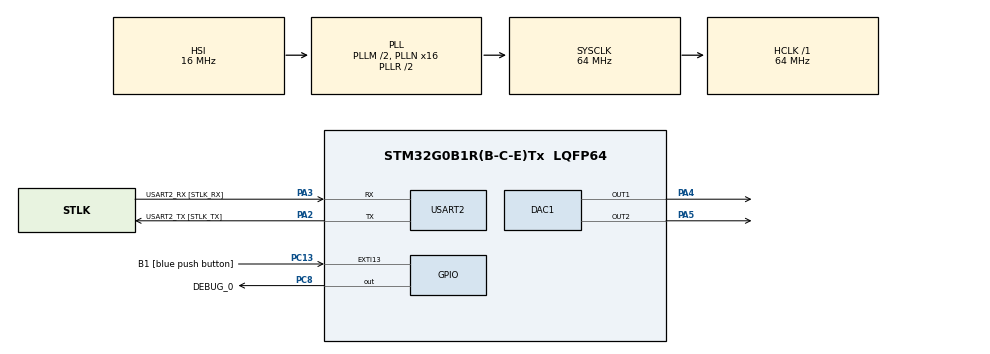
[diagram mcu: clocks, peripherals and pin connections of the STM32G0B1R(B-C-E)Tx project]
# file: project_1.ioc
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DAC1.DAC_Channel-DAC_OUT1=DAC_CHANNEL_1
DAC1.DAC_Channel-DAC_OUT2=DAC_CHANNEL_2
DAC1.DAC_Trigger-DAC_OUT1=DAC_TRIGGER_T2_TRGO
DAC1.DAC_Trigger-DAC_OUT2=DAC_TRIGGER_T2_TRGO
Dma.DAC1_CH1.0.Direction=DMA_MEMORY_TO_PERIPH
Dma.DAC1_CH1.0.EventEnable=DISABLE
Dma.DAC1_CH1.0.Instance=DMA1_Channel1
Dma.DAC1_CH1.0.MemDataAlignment=DMA_MDATAALIGN_WORD
Dma.DAC1_CH1.0.MemInc=DMA_MINC_ENABLE
Dma.DAC1_CH1.0.Mode=DMA_CIRCULAR
Dma.DAC1_CH1.0.PeriphDataAlignment=DMA_PDATAALIGN_WORD
Dma.DAC1_CH1.0.PeriphInc=DMA_PINC_DISABLE
Dma.DAC1_CH1.0.Polarity=HAL_DMAMUX_REQ_GEN_RISING
Dma.DAC1_CH1.0.Priority=DMA_PRIORITY_HIGH
Dma.DAC1_CH1.0.RequestNumber=1
Dma.DAC1_CH1.0.SignalID=NONE
Dma.DAC1_CH1.0.SyncEnable=DISABLE
Dma.DAC1_CH1.0.SyncPolarity=HAL_DMAMUX_SYNC_NO_EVENT
Dma.DAC1_CH1.0.SyncRequestNumber=1
Dma.DAC1_CH1.0.SyncSignalID=NONE
Dma.DAC1_CH2.1.Direction=DMA_MEMORY_TO_PERIPH
Dma.DAC1_CH2.1.EventEnable=DISABLE
Dma.DAC1_CH2.1.Instance=DMA1_Channel2
Dma.DAC1_CH2.1.MemDataAlignment=DMA_MDATAALIGN_WORD
Dma.DAC1_CH2.1.MemInc=DMA_MINC_DISABLE
Dma.DAC1_CH2.1.Mode=DMA_CIRCULAR
Dma.DAC1_CH2.1.PeriphDataAlignment=DMA_PDATAALIGN_WORD
Dma.DAC1_CH2.1.PeriphInc=DMA_PINC_DISABLE
Dma.DAC1_CH2.1.Polarity=HAL_DMAMUX_REQ_GEN_RISING
Dma.DAC1_CH2.1.Priority=DMA_PRIORITY_HIGH
Dma.DAC1_CH2.1.RequestNumber=1
Dma.DAC1_CH2.1.SignalID=NONE
Dma.DAC1_CH2.1.SyncEnable=DISABLE
Dma.DAC1_CH2.1.SyncPolarity=HAL_DMAMUX_SYNC_NO_EVENT
Dma.DAC1_CH2.1.SyncRequestNumber=1
Dma.DAC1_CH2.1.SyncSignalID=NONE
Dma.Request0=DAC1_CH1
Dma.Request1=DAC1_CH2
Mcu.Family=STM32G0
Mcu.Name=STM32G0B1R(B-C-E)Tx
Mcu.Package=LQFP64
NVIC.DMA1_Channel1_IRQn=true\:1\:0\:true\:false\:true\:false\:true\:true
NVIC.DMA1_Channel2_3_IRQn=true\:1\:0\:true\:false\:true\:false\:true\:true
NVIC.TIM2_IRQn=true\:0\:0\:false\:false\:true\:true\:true\:true
NVIC.USART2_LPUART2_IRQn=true\:2\:0\:true\:false\:true\:true\:true\:true
PA13.GPIO_Label=TMS
PA13.Mode=Serial_Wire
PA13.Signal=SYS_SWDIO
PA14-BOOT0.GPIO_Label=TCK
PA14-BOOT0.Mode=Serial_Wire
PA14-BOOT0.Signal=SYS_SWCLK
PA2.GPIO_Label=USART2_TX [STLK_TX]
PA2.Mode=Asynchronous
PA2.Signal=USART2_TX
PA3.GPIO_Label=USART2_RX [STLK_RX]
PA3.Mode=Asynchronous
PA3.Signal=USART2_RX
PA4.Signal=COMP_DAC11_group
PA5.Signal=COMP_DAC12_group
PC13.GPIO_Label=B1 [blue push button]
PC13.Signal=GPXTI13
PC14-OSC32_IN\ (PC14).Mode=LSE-External-Oscillator
PC14-OSC32_IN\ (PC14).Signal=RCC_OSC32_IN
PC15-OSC32_OUT\ (PC15).Mode=LSE-External-Oscillator
PC15-OSC32_OUT\ (PC15).Signal=RCC_OSC32_OUT
PC8.GPIO_Label=DEBUG_0
PC8.Signal=GPIO_Output
ProjectManager.HeapSize=0x200
ProjectManager.StackSize=0x400
ProjectManager.TargetToolchain=Makefile
RCC.ADCFreq_Value=64000000
RCC.AHBFreq_Value=64000000
RCC.CortexFreq_Value=64000000
RCC.EXTERNAL_CLOCK_VALUE=0
RCC.HCLKFreq_Value=64000000
RCC.HSE_VALUE=8000000
RCC.HSI48_VALUE=48000000
RCC.HSI_VALUE=16000000
RCC.PLLM=RCC_PLLM_DIV2
RCC.PLLN=16
RCC.PLLSourceVirtual=RCC_PLLSOURCE_HSI
RCC.SYSCLKFreq_VALUE=64000000
RCC.SYSCLKSource=RCC_SYSCLKSOURCE_PLLCLK
RCC.USBFreq_Value=48000000
RCC.VCOOutputFreq_Value=128000000
SH.COMP_DAC11_group.0=DAC1_OUT1,DAC_OUT1
SH.COMP_DAC12_group.0=DAC1_OUT2,DAC_OUT2
TIM2.AutoReloadPreload=TIM_AUTORELOAD_PRELOAD_ENABLE
TIM2.Period=40-1
TIM2.Prescaler=160-1
TIM2.TIM_MasterOutputTrigger=TIM_TRGO_UPDATE
USART2.VirtualMode-Asynchronous=VM_ASYNC
VP_SYS_VS_DBSignals.Mode=DisableDeadBatterySignals
VP_TIM2_VS_ClockSourceINT.Mode=Internal
board=NUCLEO-G0B1RE

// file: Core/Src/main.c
/* USER CODE BEGIN Header */
/**
  ******************************************************************************
  * @file           : main.c
  * @brief          : Main program body
  ******************************************************************************
  * @attention
  *
  * Copyright (c) 2026 STMicroelectronics.
  * All rights reserved.
  *
  * This software is licensed under terms that can be found in the LICENSE file
  * in the root directory of this software component.
  * If no LICENSE file comes with this software, it is provided AS-IS.
  *
  ******************************************************************************
  */
/* USER CODE END Header */
#include "main.h"

/* USER CODE BEGIN Includes */
#include <math.h>
#include <stdio.h>
#include "utils.h"
/* USER CODE END Includes */

/* USER CODE BEGIN PD */

#define MAX_STIM_LENGTH 1024U
#define DAC_TSEL_TIM6_TRGO 0U

/* USER CODE END PD */

DAC_HandleTypeDef hdac1;
DMA_HandleTypeDef hdma_dac1_ch1;
DMA_HandleTypeDef hdma_dac1_ch2;

TIM_HandleTypeDef htim2;

UART_HandleTypeDef huart2;

void SystemClock_Config(void);
static void MX_GPIO_Init(void);
static void MX_DMA_Init(void);
static void MX_USART2_UART_Init(void);
static void MX_DAC1_Init(void);
static void MX_TIM2_Init(void);

/* USER CODE BEGIN 0 */
q24_t Stim[MAX_STIM_LENGTH] = {Q24_ZERO};

stim_t G_StimDb;
biquad_filter_t G_BiquadDb;

biquad_filter_t template_Biquad = {Q24_ZERO, Q24_ZERO, Q24_ZERO, Q24_ZERO, Q24_ZERO, Q24_ZERO, Q24_ZERO, Q24_ZERO, Q24_ZERO, Q24_ZERO, Q24_ZERO, Q24_ZERO};

filter_stats_t G_FilterStats;

uint32_t Filt_in = 0;
uint32_t Filt_out = 0;

char qbuf[16];

extern CmdArgs CmdStruct;

void get_stim_stats(void)
{
  G_FilterStats.max_stim_value = Q24_ZERO;
  G_FilterStats.min_stim_value = Q24_ONE;
  G_FilterStats.stim_amplitude = Q24_ZERO;

  for (uint32_t i = 0; i < G_StimDb.stim_length; i++)
  {
    if (Stim[i] > G_FilterStats.max_stim_value)
    {
      G_FilterStats.max_stim_value = Stim[i];
    }
    if (Stim[i] < G_FilterStats.min_stim_value)
    {
      G_FilterStats.min_stim_value = Stim[i];
    }
  }

  G_FilterStats.stim_amplitude = q24_sub(G_FilterStats.max_stim_value, G_FilterStats.min_stim_value);
}

void init_filter_stats(void)
{
  G_FilterStats.max_filter_value = Q24_ZERO;
  G_FilterStats.min_filter_value = Q24_ONE;
  G_FilterStats.filter_amplitude = Q24_ZERO;
  G_FilterStats.filter_gain = Q24_ONE; // Default gain is 1
}

void update_filter_min_max(q24_t filter_value)
{
  if (filter_value > G_FilterStats.max_filter_value)
  {
    G_FilterStats.max_filter_value = filter_value;
  }
  if (filter_value < G_FilterStats.min_filter_value)
  {
    G_FilterStats.min_filter_value = filter_value;
  }

}

void set_filter_template(biquad_filter_t *template)
{
  G_BiquadDb.b0 = template->b0;
  G_BiquadDb.b1 = template->b1;
  G_BiquadDb.b2 = template->b2;
  G_BiquadDb.a1 = template->a1;
  G_BiquadDb.a2 = template->a2;
}

void set_stim(uint8_t stim_type, q24_t f_norm_new)
{
  // Implementation for setting the stimulus type and normalized frequency
  // This function can be used to update the stimulus parameters dynamically
  // For example, you can store stim_type and f_norm in global variables and use them in Stim_Init
  // Here, we just print the new values for demonstration purposes
  printf("\n\rSetting stimulus type to: %s", (stim_type == SIN) ? "SIN" : "SQR");
  printf("\n\rSetting normalized frequency to: %s", q24_to_str(f_norm_new)); // wip
  G_StimDb.f_norm = f_norm_new; // Update the global f_norm variable
  G_StimDb.stim_type = stim_type; // Update the global stim_type variable
  HAL_DAC_Stop_DMA(&hdac1, DAC_CHANNEL_1);
  HAL_DAC_Stop_DMA(&hdac1, DAC_CHANNEL_2);
  G_StimDb.stim_index = 0; // Reset stim_index to start from the beginning of the new stimulus

  if (G_StimDb.stim_type == SIN)
  {
    G_StimDb.stim_length = Stim_Init_sin(G_StimDb.f_norm, 1); // Reinitialize the stimulus with the new frequency
    get_stim_stats(); // Update the stimulus statistics after reinitialization
  }
  else if (stim_type == SQR)
  {
    G_StimDb.stim_length = Stim_Init_sqr(G_StimDb.f_norm, 1); // Reinitialize the stimulus with the new frequency
    get_stim_stats(); // Update the stimulus statistics after reinitialization
  }
  else
  {
    printf("\n\rInvalid stimulus type");
  }
  HAL_DAC_Start_DMA(&hdac1, DAC_CHANNEL_1, &Filt_in, 1, DAC_ALIGN_12B_R);
  HAL_DAC_Start_DMA(&hdac1, DAC_CHANNEL_2, &Filt_out, 1, DAC_ALIGN_12B_R);
}

uint32_t Stim_Init_sin(q24_t f_norm, uint32_t n_cycles)
{
  const float two_pi = 6.28318530718f;
  uint32_t stim_length;
  uint32_t index = 0;
  float phase = 0.0f;
  uint32_t period = (uint32_t)(1.0f / q24_to_float(f_norm));

//  float amplitude_scale = 1.0f/3.3f; // think more about this. I wabt to add ability for filter gain > 1 fpr 2nd order filter. For now, just scale to 1.0f
  float amplitude_scale = 1.0f;

  stim_length = (uint32_t)(n_cycles * (1.0f / q24_to_float(f_norm)));
  if (stim_length > MAX_STIM_LENGTH)
  {
    stim_length = MAX_STIM_LENGTH;
  }

  for (index = 0; index < stim_length; index++)
  {
    phase = two_pi * (float)(index % period) / (float)period;
    Stim[index] = q24_from_float(sinf(phase) * amplitude_scale); // Sine wave
//    printf("\n\rStim[%ld] = %lx", index, Stim[index]);
  }

  printf("\n\r%ld Stimuli initialized\n\r", stim_length);
  return stim_length;
}

uint32_t Stim_Init_sqr(q24_t f_norm, uint32_t n_cycles)
{
  const float two_pi = 6.28318530718f;
  uint32_t stim_length;
  uint32_t index = 0;
  //float phase = 0.0f;
  uint32_t period = (uint32_t)(1.0f / q24_to_float(f_norm));

  stim_length = (uint32_t)(n_cycles * (1.0f / q24_to_float(f_norm)));
  if (stim_length > MAX_STIM_LENGTH)
  {
    stim_length = MAX_STIM_LENGTH;
  }

  for (index = 0; index < stim_length; index++)
  {
    Stim[index] = (index % period) < (period / 2) ? Q24_NEG_ONE : Q24_ONE; // Square wave
  }
  printf("\n\r%ld Stimuli initialized\n\r", stim_length);
  return stim_length;
}

q24_t get_biquad_filter_value(q24_t x_in)
{

  q24_t y =   q24_mul(G_BiquadDb.b0, x_in)
            + q24_mul(G_BiquadDb.b1, G_BiquadDb.x1)
            + q24_mul(G_BiquadDb.b2, G_BiquadDb.x2)
            - q24_mul(G_BiquadDb.a1, G_BiquadDb.y1)
            - q24_mul(G_BiquadDb.a2, G_BiquadDb.y2);

  // Update the filter state
  G_BiquadDb.x2 = G_BiquadDb.x1;
  G_BiquadDb.x1 = x_in;
  G_BiquadDb.y2 = G_BiquadDb.y1;
  G_BiquadDb.y1 = y;

  return y;
}

void handle_dacs(void)
{

  HAL_GPIO_WritePin(DEBUG_0_GPIO_Port, DEBUG_0_Pin, GPIO_PIN_SET);

  handle_stim(G_StimDb.stim_index);
  handle_filter(G_StimDb.stim_index);
  G_StimDb.stim_index = (G_StimDb.stim_index + 1) % G_StimDb.stim_length; // Increment stim_index and wrap around if necessary
  HAL_GPIO_WritePin(DEBUG_0_GPIO_Port, DEBUG_0_Pin, GPIO_PIN_RESET);

}

void handle_filter(uint32_t stim_index)
{
  // Implementation for handling DAC2

  q24_t biquad_y = get_biquad_filter_value(Stim[stim_index]);

  Filt_out = q24_to_dac12(biquad_y);

  update_filter_min_max(biquad_y);

}

void handle_stim(uint32_t stim_index)
{
  Filt_in = q24_to_dac12(Stim[stim_index]);
}

void set_k(q24_t k_new)
{
  init_biquad_filter(k_new); // Reinitialize the biquad filter with the new k value

}

void init_project(void)
{
  G_StimDb.ptr_stim = Stim;
  G_StimDb.stim_length = 0;
  G_StimDb.stim_index = 0;
  G_StimDb.stim_type = SIN;
  G_StimDb.f_norm = q24_from_float(0.05f); // Default normalized frequency

  init_biquad_filter(q24_from_float(0.15707963267948966f)); // Example value for k

  set_stim(G_StimDb.stim_type, G_StimDb.f_norm); // Initialize the stimulus with the default type and frequency

}

void init_biquad_filter(q24_t k)
{
  G_BiquadDb.k = k;
  G_BiquadDb.b0 = q24_div(G_BiquadDb.k, q24_add(Q24_ONE, G_BiquadDb.k));
  G_BiquadDb.b1 = G_BiquadDb.b0;
  G_BiquadDb.b2 = Q24_ZERO;
  G_BiquadDb.a1 = q24_div(q24_sub(G_BiquadDb.k, Q24_ONE), q24_add(Q24_ONE, G_BiquadDb.k));
  G_BiquadDb.a2 = Q24_ZERO;
  G_BiquadDb.x1 = Q24_ZERO;
  G_BiquadDb.x2 = Q24_ZERO;
  G_BiquadDb.y1 = Q24_ZERO;
  G_BiquadDb.y2 = Q24_ZERO;
  printf("\n\rBiquad filter initialized with k = %s", q24_to_str(k));

}

void print_config(void)
{
				printf("\n\rCurrent Configuration:");
				printf("\n\rStimulus Type: %s", (G_StimDb.stim_type == SIN) ? "SIN" : "SQR");
				printf("\n\rNormalized Frequency: %s", q24_to_str(G_StimDb.f_norm));
				printf("\n\rBiquad Filter Coefficient k: %s", q24_to_str(G_BiquadDb.k));
}

void print_filter_params(void)
{
        printf("\n\rBiquad Filter Parameters:");
        printf("\n\rk: %s", q24_to_str(G_BiquadDb.k));
        printf("\n\rb0: %s", q24_to_str(G_BiquadDb.b0));
        printf("\n\rb1: %s", q24_to_str(G_BiquadDb.b1));
        printf("\n\rb2: %s", q24_to_str(G_BiquadDb.b2));
        printf("\n\ra1: %s", q24_to_str(G_BiquadDb.a1));
        printf("\n\ra2: %s", q24_to_str(G_BiquadDb.a2));
}

void print_stim_stats(void)
{
  printf("\n\rStimulus Statistics:");
  printf("\n\rMax Stimulus Value: %s", q24_to_str(G_FilterStats.max_stim_value));
  printf("\n\rMin Stimulus Value: %s", q24_to_str(G_FilterStats.min_stim_value));
  printf("\n\rStimulus Amplitude: %s", q24_to_str(G_FilterStats.stim_amplitude));
}

void print_filter_stats(void)
{
  init_filter_stats(); // Ensure filter statistics are initialized before printing
  HAL_Delay(120); // Small delay to allow filter to run over all stimult max = MAX_STIM_LENGTH * 100us per sample = 102.4ms
  printf("\n\rFilter Statistics:");
  printf("\n\rMax Filter Value: %s", q24_to_str(G_FilterStats.max_filter_value));
  printf("\n\rMin Filter Value: %s", q24_to_str(G_FilterStats.min_filter_value));
  G_FilterStats.filter_amplitude = q24_sub(G_FilterStats.max_filter_value, G_FilterStats.min_filter_value);
  G_FilterStats.filter_gain = q24_div(G_FilterStats.filter_amplitude, G_FilterStats.stim_amplitude);
  printf("\n\rFilter Amplitude: %s", q24_to_str(G_FilterStats.filter_amplitude));
  printf("\n\rFilter Gain: %s", q24_to_str(G_FilterStats.filter_gain));
}

/* USER CODE END 0 */

int main(void)
{

  /* MCU Configuration--------------------------------------------------------*/

  /* Reset of all peripherals, Initializes the Flash interface and the Systick. */
  HAL_Init();

  /* USER CODE BEGIN Init */
  setvbuf(stdout, NULL, _IONBF, 0);
  /* USER CODE END Init */

  /* Configure the system clock */
  SystemClock_Config();

  /* Initialize all configured peripherals */
  MX_GPIO_Init();
  MX_DMA_Init();
  MX_USART2_UART_Init();
  MX_DAC1_Init();
  MX_TIM2_Init();
  /* USER CODE BEGIN 2 */
	//HAL_TIM_Base_Start(&htim2);

  uint32_t TickZero;
  uint32_t TickRun;
  uint8_t Count = 0;

  PrintBanner();

  init_project();

  print_config();
  PrintMenu();
  print_prompt();

  HAL_DAC_Start_DMA(&hdac1, DAC_CHANNEL_1, &Filt_in, 1, DAC_ALIGN_12B_R);
  HAL_DAC_Start_DMA(&hdac1, DAC_CHANNEL_2, &Filt_out, 1, DAC_ALIGN_12B_R);
  handle_dacs();

  HAL_TIM_Base_Start_IT(&htim2);
  extern uint8_t DEBUG_UART_IT_RX;
  //debug_uart_receive_IT();

  TickZero = HAL_GetTick();
  TickRun = TickZero + TICK_WHILE_TIME;

  HAL_UART_Receive_IT(&huart2, (uint8_t *)DEBUG_UART_IT_RX, 1);

  /* USER CODE END 2 */

  /* Infinite loop */
  while (1)
  {

    /* USER CODE BEGIN 3 */
    //HAL_GPIO_TogglePin(LED_GREEN_GPIO_Port, LED_GREEN_Pin);
    //HAL_GPIO_TogglePin(DEBUG_0_GPIO_Port, DEBUG_0_Pin);

    while (HAL_GetTick() < TickRun)
    {
    	HAL_UART_Receive_IT(&huart2, (uint8_t *)DEBUG_UART_IT_RX, 1);
      debug_uart_receive_IT();
		  CmdStruct = Handle_UART_Rx();
		  HandleCLI(&CmdStruct);
//      HAL_Delay(500);
    }

	  TickRun = HAL_GetTick() + TICK_WHILE_TIME;

	  Count++;
	  if (Count >= 50)
	  {
		  Count = 0;
//		  HAL_GPIO_TogglePin(DEBUG_0_GPIO_Port, DEBUG_0_Pin);
	  }
  }
}
  /* USER CODE END 3 */

void SystemClock_Config(void)
{
  RCC_OscInitTypeDef RCC_OscInitStruct = {0};
  RCC_ClkInitTypeDef RCC_ClkInitStruct = {0};

  /** Configure the main internal regulator output voltage
  */
  HAL_PWREx_ControlVoltageScaling(PWR_REGULATOR_VOLTAGE_SCALE1);

  /** Initializes the RCC Oscillators according to the specified parameters
  * in the RCC_OscInitTypeDef structure.
  */
  RCC_OscInitStruct.OscillatorType = RCC_OSCILLATORTYPE_HSI;
  RCC_OscInitStruct.HSIState = RCC_HSI_ON;
  RCC_OscInitStruct.HSIDiv = RCC_HSI_DIV1;
  RCC_OscInitStruct.HSICalibrationValue = RCC_HSICALIBRATION_DEFAULT;
  RCC_OscInitStruct.PLL.PLLState = RCC_PLL_ON;
  RCC_OscInitStruct.PLL.PLLSource = RCC_PLLSOURCE_HSI;
  RCC_OscInitStruct.PLL.PLLM = RCC_PLLM_DIV2;
  RCC_OscInitStruct.PLL.PLLN = 16;
  RCC_OscInitStruct.PLL.PLLP = RCC_PLLP_DIV2;
  RCC_OscInitStruct.PLL.PLLQ = RCC_PLLQ_DIV2;
  RCC_OscInitStruct.PLL.PLLR = RCC_PLLR_DIV2;
  if (HAL_RCC_OscConfig(&RCC_OscInitStruct) != HAL_OK)
  {
    Error_Handler();
  }

  /** Initializes the CPU, AHB and APB buses clocks
  */
  RCC_ClkInitStruct.ClockType = RCC_CLOCKTYPE_HCLK|RCC_CLOCKTYPE_SYSCLK
                              |RCC_CLOCKTYPE_PCLK1;
  RCC_ClkInitStruct.SYSCLKSource = RCC_SYSCLKSOURCE_PLLCLK;
  RCC_ClkInitStruct.AHBCLKDivider = RCC_SYSCLK_DIV1;
  RCC_ClkInitStruct.APB1CLKDivider = RCC_HCLK_DIV1;

  if (HAL_RCC_ClockConfig(&RCC_ClkInitStruct, FLASH_LATENCY_2) != HAL_OK)
  {
    Error_Handler();
  }
}

static void MX_DAC1_Init(void)
{

  DAC_ChannelConfTypeDef sConfig = {0};

  /** DAC Initialization
  */
  hdac1.Instance = DAC1;
  if (HAL_DAC_Init(&hdac1) != HAL_OK)
  {
    Error_Handler();
  }

  /** DAC channel OUT1 config
  */
  sConfig.DAC_SampleAndHold = DAC_SAMPLEANDHOLD_DISABLE;
  sConfig.DAC_Trigger = DAC_TRIGGER_T2_TRGO;
  sConfig.DAC_OutputBuffer = DAC_OUTPUTBUFFER_ENABLE;
  sConfig.DAC_ConnectOnChipPeripheral = DAC_CHIPCONNECT_DISABLE;
  sConfig.DAC_UserTrimming = DAC_TRIMMING_FACTORY;
  if (HAL_DAC_ConfigChannel(&hdac1, &sConfig, DAC_CHANNEL_1) != HAL_OK)
  {
    Error_Handler();
  }

  /** DAC channel OUT2 config
  */
  if (HAL_DAC_ConfigChannel(&hdac1, &sConfig, DAC_CHANNEL_2) != HAL_OK)
  {
    Error_Handler();
  }

}

static void MX_TIM2_Init(void)
{

  TIM_ClockConfigTypeDef sClockSourceConfig = {0};
  TIM_MasterConfigTypeDef sMasterConfig = {0};

  htim2.Instance = TIM2;
  htim2.Init.Prescaler = 160-1;
  htim2.Init.CounterMode = TIM_COUNTERMODE_UP;
  htim2.Init.Period = 40-1;
  htim2.Init.ClockDivision = TIM_CLOCKDIVISION_DIV1;
  htim2.Init.AutoReloadPreload = TIM_AUTORELOAD_PRELOAD_ENABLE;
  if (HAL_TIM_Base_Init(&htim2) != HAL_OK)
  {
    Error_Handler();
  }
  sClockSourceConfig.ClockSource = TIM_CLOCKSOURCE_INTERNAL;
  if (HAL_TIM_ConfigClockSource(&htim2, &sClockSourceConfig) != HAL_OK)
  {
    Error_Handler();
  }
  sMasterConfig.MasterOutputTrigger = TIM_TRGO_UPDATE;
  sMasterConfig.MasterSlaveMode = TIM_MASTERSLAVEMODE_DISABLE;
  if (HAL_TIMEx_MasterConfigSynchronization(&htim2, &sMasterConfig) != HAL_OK)
  {
    Error_Handler();
  }

}

static void MX_USART2_UART_Init(void)
{

  huart2.Instance = USART2;
  huart2.Init.BaudRate = 115200;
  huart2.Init.WordLength = UART_WORDLENGTH_8B;
  huart2.Init.StopBits = UART_STOPBITS_1;
  huart2.Init.Parity = UART_PARITY_NONE;
  huart2.Init.Mode = UART_MODE_TX_RX;
  huart2.Init.HwFlowCtl = UART_HWCONTROL_NONE;
  huart2.Init.OverSampling = UART_OVERSAMPLING_16;
  huart2.Init.OneBitSampling = UART_ONE_BIT_SAMPLE_DISABLE;
  huart2.Init.ClockPrescaler = UART_PRESCALER_DIV1;
  huart2.AdvancedInit.AdvFeatureInit = UART_ADVFEATURE_NO_INIT;
  if (HAL_UART_Init(&huart2) != HAL_OK)
  {
    Error_Handler();
  }
  if (HAL_UARTEx_SetTxFifoThreshold(&huart2, UART_TXFIFO_THRESHOLD_1_8) != HAL_OK)
  {
    Error_Handler();
  }
  if (HAL_UARTEx_SetRxFifoThreshold(&huart2, UART_RXFIFO_THRESHOLD_1_8) != HAL_OK)
  {
    Error_Handler();
  }
  if (HAL_UARTEx_DisableFifoMode(&huart2) != HAL_OK)
  {
    Error_Handler();
  }

}

static void MX_DMA_Init(void)
{

  /* DMA controller clock enable */
  __HAL_RCC_DMA1_CLK_ENABLE();

  /* DMA interrupt init */
  /* DMA1_Channel1_IRQn interrupt configuration */
  HAL_NVIC_SetPriority(DMA1_Channel1_IRQn, 1, 0);
  HAL_NVIC_EnableIRQ(DMA1_Channel1_IRQn);
  /* DMA1_Channel2_3_IRQn interrupt configuration */
  HAL_NVIC_SetPriority(DMA1_Channel2_3_IRQn, 1, 0);
  HAL_NVIC_EnableIRQ(DMA1_Channel2_3_IRQn);

}

static void MX_GPIO_Init(void)
{
  GPIO_InitTypeDef GPIO_InitStruct = {0};

  /* GPIO Ports Clock Enable */
  __HAL_RCC_GPIOC_CLK_ENABLE();
  __HAL_RCC_GPIOA_CLK_ENABLE();

  /*Configure GPIO pin Output Level */
  HAL_GPIO_WritePin(DEBUG_0_GPIO_Port, DEBUG_0_Pin, GPIO_PIN_RESET);

  /*Configure GPIO pin : B1_Pin */
  GPIO_InitStruct.Pin = B1_Pin;
  GPIO_InitStruct.Mode = GPIO_MODE_IT_RISING;
  GPIO_InitStruct.Pull = GPIO_NOPULL;
  HAL_GPIO_Init(B1_GPIO_Port, &GPIO_InitStruct);

  /*Configure GPIO pin : DEBUG_0_Pin */
  GPIO_InitStruct.Pin = DEBUG_0_Pin;
  GPIO_InitStruct.Mode = GPIO_MODE_OUTPUT_PP;
  GPIO_InitStruct.Pull = GPIO_NOPULL;
  GPIO_InitStruct.Speed = GPIO_SPEED_FREQ_LOW;
  HAL_GPIO_Init(DEBUG_0_GPIO_Port, &GPIO_InitStruct);

}

/* USER CODE BEGIN 4 */

int __io_putchar(int ch)
{
  uint8_t character = (uint8_t)ch;
  HAL_UART_Transmit(&huart2, &character, 1, HAL_MAX_DELAY);
  return ch;
}

/* USER CODE END 4 */

void Error_Handler(void)
{
  __disable_irq();
  while (1)
  {
  }
}
